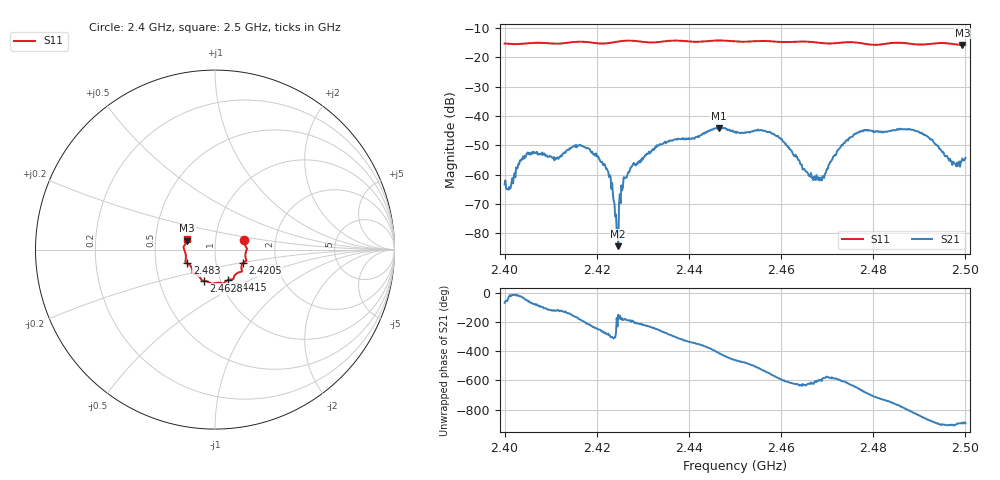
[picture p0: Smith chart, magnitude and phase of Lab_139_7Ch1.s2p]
# Hz S RI R 50
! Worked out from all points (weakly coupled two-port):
!   601 points, 2.4 GHz to 2.5 GHz, reference 50 ohm
!   highest |S21| = -44.04 dB at 2.4465 GHz (marker M1); lowest = -84.4 dB at 2.4247 GHz (marker M2)
!   lowest |S11| = -15.7 dB at 2.4993 GHz (marker M3), VSWR 1.39, Z = 36.4 + j3.67 ohm
!   |S11| at or under -10 dB: start of sweep to end of sweep
!   S12 and S22 are empty: the file has one direction only
!   S11 on the Smith chart (normalised r, x): 2.4 GHz: 1.38, +0.16; 2.4205 GHz: 1.35, -0.21; 2.4415 GHz: 1.09, -0.38; 2.4628 GHz: 0.83, -0.30; 2.483 GHz: 0.73, -0.11; 2.5 GHz: 0.73, +0.09
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2.4e9  0.163 0.0563  0.000239 -0.000638  0 0  0 0
2.405167e9  0.174 0.0122  0.00108 -0.00197  0 0  0 0
2.416667e9  0.1742 -0.0627  -0.00303 0.000455  0 0  0 0
2.4205e9  0.1555 -0.0763  -0.000558 0.00178  0 0  0 0
2.4225e9  0.1478 -0.0935  0.000187 0.00109  0 0  0 0
2.424167e9  0.1478 -0.1089  2.57e-05 0.000208  0 0  0 0
2.424667e9  0.1487 -0.1124  -5.27e-05 -2.9e-05  0 0  0 0
2.426333e9  0.1502 -0.1205  -0.000895 7.44e-05  0 0  0 0
2.433333e9  0.1078 -0.1472  -0.000865 0.003  0 0  0 0
2.4415e9  0.0733 -0.1692  0.0043 0.00088  0 0  0 0
2.4465e9  0.0467 -0.1884  0.00374 -0.00504  0 0  0 0
2.45e9  0.0295 -0.1848  -0.000905 -0.00513  0 0  0 0
2.457833e9  -0.0237 -0.1867  -0.00491 0.00167  0 0  0 0
2.462833e9  -0.062 -0.1736  -0.00025 0.00205  0 0  0 0
2.466667e9  -0.0765 -0.1666  -0.000201 0.000858  0 0  0 0
2.468833e9  -0.0851 -0.1533  -0.000353 0.000711  0 0  0 0
2.476167e9  -0.1261 -0.1279  0.00123 0.0049  0 0  0 0
2.483e9  -0.1542 -0.0758  0.00499 -0.00192  0 0  0 0
2.483333e9  -0.1564 -0.0745  0.0051 -0.00207  0 0  0 0
2.49e9  -0.1627 -0.0297  -0.00264 -0.00459  0 0  0 0
2.499333e9  -0.1558 0.0491  -0.00185 -0.000373  0 0  0 0
2.5e9  -0.1535 0.0576  -0.00192 -0.000236  0 0  0 0
